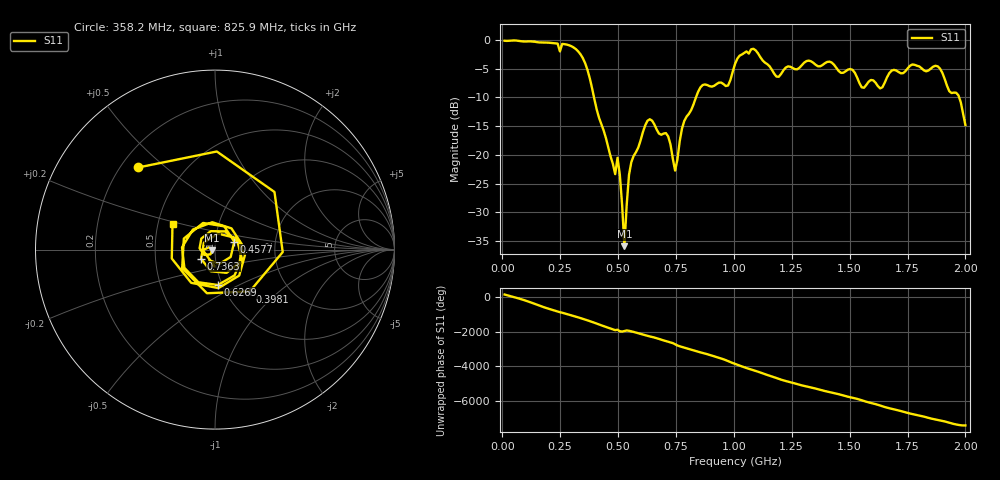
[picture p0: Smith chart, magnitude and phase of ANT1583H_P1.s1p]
!Created with skrf (http://scikit-rf.org).
# Hz S RI R 50.0
!freq ReS11 ImS11
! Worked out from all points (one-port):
!   201 points, 10 MHz to 2 GHz, reference 50 ohm
!   lowest |S11| = -35.9 dB at 527.4 MHz (marker M1), VSWR 1.03, Z = 48.5 - j0.321 ohm
!   |S11| at or under -10 dB: 396.1 MHz to 836.3 MHz (440.2 MHz wide, 71.4 % of centre); 1.973 GHz to end of sweep
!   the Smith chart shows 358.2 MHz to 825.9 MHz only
!   S11 on the Smith chart (normalised r, x): 358.2 MHz: 0.27, +0.41; 398.1 MHz: 1.29, -0.66; 457.8 MHz: 1.24, +0.11; 626.9 MHz: 0.95, -0.39; 736.4 MHz: 0.85, -0.09; 825.9 MHz: 0.60, +0.18
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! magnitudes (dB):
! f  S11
! 10 MHz  -0.1
! 258.8 MHz  -0.7
! 358.2 MHz  -4.1
! 398.1 MHz  -10.4
! 457.8 MHz  -18.7
! 497.6 MHz  -20.5
! 507.5 MHz  -23.4
! 527.4 MHz  -35.9
! 547.3 MHz  -23.5
! 626.9 MHz  -14.1
! 716.5 MHz  -16.8
! 736.4 MHz  -20.7
! 746.3 MHz  -22.7
! 756.2 MHz  -20.8
! 776.1 MHz  -15.4
! 825.9 MHz  -11.2
! 865.7 MHz  -7.8
! 975.1 MHz  -7.9
! 1.005 GHz  -4.2
! 1.085 GHz  -1.5
! 1.184 GHz  -6.4
! 1.254 GHz  -4.9
! 1.502 GHz  -5.0
! 1.632 GHz  -8.4
! 1.751 GHz  -4.9
! 1.881 GHz  -4.6
! 1.97 GHz  -9.7
! 2 GHz  -14.8
